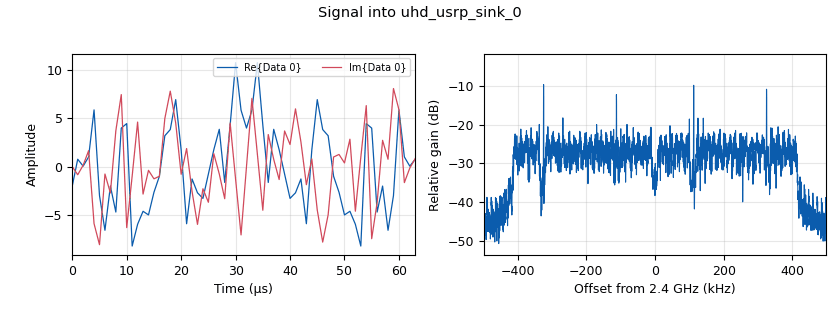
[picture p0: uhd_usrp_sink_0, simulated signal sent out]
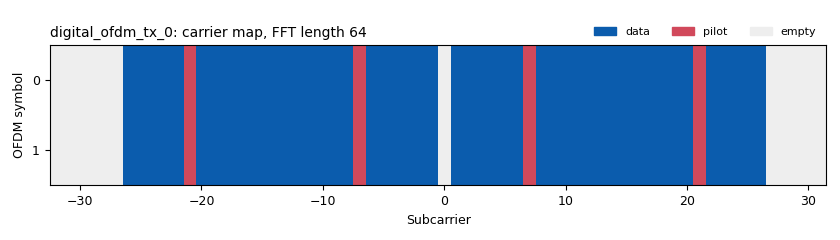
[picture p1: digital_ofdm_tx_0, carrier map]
<?xml version='1.0' encoding='utf-8'?>
<?grc format='1' created='3.7.10'?>
<flow_graph>
<block>
<key>options</key>
<param><key>id</key><value>top_block</value></param>
<param><key>generate_options</key><value>qt_gui</value></param>
</block>
<block>
<key>variable</key>
<param><key>id</key><value>fft_len</value></param>
<param><key>value</key><value>64</value></param>
</block>
<block>
<key>variable</key>
<param><key>id</key><value>header_equalizer</value></param>
<param><key>value</key><value>digital.ofdm_equalizer_simpledfe(fft_len, header_mod.base(), occupied_carriers, pilot_carriers, pilot_symbols)</value></param>
</block>
<block>
<key>variable</key>
<param><key>id</key><value>header_formatter</value></param>
<param><key>value</key><value>digital.packet_header_ofdm(occupied_carriers, n_syms=1, len_tag_key=packet_length_tag_key, frame_len_tag_key=length_tag_key, bits_per_header_sym=header_mod.bits_per_symbol(), bits_per_payload_sym=payload_mod.bits_per_symbol(), scramble_header=False)</value></param>
</block>
<block>
<key>variable</key>
<param><key>id</key><value>header_mod</value></param>
<param><key>value</key><value>digital.constellation_bpsk()</value></param>
</block>
<block>
<key>variable</key>
<param><key>id</key><value>length_tag_key</value></param>
<param><key>value</key><value>"frame_len"</value></param>
</block>
<block>
<key>variable</key>
<param><key>id</key><value>occupied_carriers</value></param>
<param><key>value</key><value>(range(-26, -21) + range(-20, -7) + range(-6, 0) + range(1, 7) + range(8, 21) + range(22, 27),)</value></param>
</block>
<block>
<key>variable</key>
<param><key>id</key><value>packet_len</value></param>
<param><key>value</key><value>96</value></param>
</block>
<block>
<key>variable</key>
<param><key>id</key><value>packet_length_tag_key</value></param>
<param><key>value</key><value>"packet_len"</value></param>
</block>
<block>
<key>variable</key>
<param><key>id</key><value>payload_equalizer</value></param>
<param><key>value</key><value>digital.ofdm_equalizer_simpledfe(fft_len, payload_mod.base(), occupied_carriers, pilot_carriers, pilot_symbols, 1)</value></param>
</block>
<block>
<key>variable</key>
<param><key>id</key><value>payload_mod</value></param>
<param><key>value</key><value>digital.constellation_qpsk()</value></param>
</block>
<block>
<key>variable</key>
<param><key>id</key><value>pilot_carriers</value></param>
<param><key>value</key><value>((-21, -7, 7, 21,),)</value></param>
</block>
<block>
<key>variable</key>
<param><key>id</key><value>pilot_symbols</value></param>
<param><key>value</key><value>((1, 1, 1, -1,),)</value></param>
</block>
<block>
<key>variable</key>
<param><key>id</key><value>samp_rate</value></param>
<param><key>value</key><value>1e6</value></param>
</block>
<block>
<key>variable</key>
<param><key>id</key><value>sync_word1</value></param>
<param><key>value</key><value>[0., 0., 0., 0., 0., 0., 0., 1.41421356, 0., -1.41421356, 0., 1.41421356, 0., -1.41421356, 0., -1.41421356, 0., -1.41421356, 0., 1.41421356, 0., -1.41421356, 0., 1.41421356, 0., -1.41421356, 0., -1.41421356, 0., -1.41421356, 0., -1.41421356, 0., 1.41421356, 0., -1.41421356, 0., 1.41421356, 0., 1.41421356, 0., 1.41421356, 0., -1.41421356, 0., 1.41421356, 0., 1.41421356, 0., 1.41421356, 0., -1.41421356, 0., 1.41421356, 0., 1.41421356, 0., 1.41421356, 0., 0., 0., 0., 0., 0.]</value></param>
</block>
<block>
<key>variable</key>
<param><key>id</key><value>sync_word2</value></param>
<param><key>value</key><value>[0j, 0j, 0j, 0j, 0j, 0j, (-1+0j), (-1+0j), (-1+0j), (-1+0j), (1+0j), (1+0j), (-1+0j), (-1+0j), (-1+0j), (1+0j), (-1+0j), (1+0j), (1+0j), (1 +0j), (1+0j), (1+0j), (-1+0j), (-1+0j), (-1+0j), (-1+0j), (-1+0j), (1+0j), (-1+0j), (-1+0j), (1+0j), (-1+0j), 0j, (1+0j), (-1+0j), (1+0j), (1+0j), (1+0j), (-1+0j), (1+0j), (1+0j), (1+0j), (-1+0j), (1+0j), (1+0j), (1+0j), (1+0j), (-1+0j), (1+0j), (-1+0j), (-1+0j), (-1+0j), (1+0j), (-1+0j), (1+0j), (-1+0j), (-1+0j), (-1+0j), (-1+0j), 0j, 0j, 0j, 0j, 0j]</value></param>
</block>
<block>
<key>analog_random_source_x</key>
<param><key>id</key><value>analog_random_source_x_0</value></param>
<param><key>max</key><value>255</value></param>
<param><key>min</key><value>0</value></param>
<param><key>num_samps</key><value>1000</value></param>
<param><key>type</key><value>byte</value></param>
<param><key>repeat</key><value>True</value></param>
</block>
<block>
<key>blocks_stream_to_tagged_stream</key>
<param><key>id</key><value>blocks_stream_to_tagged_stream_0</value></param>
<param><key>len_tag_key</key><value>packet_length_tag_key</value></param>
<param><key>packet_len</key><value>packet_len</value></param>
<param><key>type</key><value>byte</value></param>
</block>
<block>
<key>digital_ofdm_tx</key>
<param><key>id</key><value>digital_ofdm_tx_0</value></param>
<param><key>cp_len</key><value>fft_len/4</value></param>
<param><key>fft_len</key><value>fft_len</value></param>
<param><key>header_mod</key><value>"BPSK"</value></param>
<param><key>packet_len_key</key><value>packet_length_tag_key</value></param>
<param><key>log</key><value>True</value></param>
<param><key>occupied_carriers</key><value>occupied_carriers</value></param>
<param><key>payload_mod</key><value>"BPSK"</value></param>
<param><key>pilot_carriers</key><value>pilot_carriers</value></param>
<param><key>pilot_symbols</key><value>pilot_symbols</value></param>
<param><key>rolloff</key><value>0</value></param>
<param><key>sync_word1</key><value>sync_word1</value></param>
<param><key>sync_word2</key><value>sync_word2</value></param>
</block>
<block>
<key>import</key>
<param><key>id</key><value>import_1</value></param>
<param><key>import</key><value>from gnuradio.digital.utils import tagged_streams</value></param>
</block>
<block>
<key>uhd_usrp_sink</key>
<param><key>id</key><value>uhd_usrp_sink_0</value></param>
<param><key>ant0</key><value>TX/RX</value></param>
<param><key>center_freq0</key><value>2.4e9</value></param>
<param><key>norm_gain0</key><value>False</value></param>
<param><key>gain0</key><value>40</value></param>
<param><key>clock_rate</key><value>0.0</value></param>
<param><key>dev_args</key><value>""</value></param>
<param><key>type</key><value>fc32</value></param>
<param><key>sd_spec0</key><value>A:A</value></param>
<param><key>samp_rate</key><value>samp_rate</value></param>
<param><key>hide_cmd_port</key><value>False</value></param>
<param><key>hide_lo_controls</key><value>True</value></param>
<param><key>sync</key><value></value></param>
<param><key>len_tag_name</key><value></value></param>
</block>
<connection><source_block_id>analog_random_source_x_0</source_block_id><sink_block_id>blocks_stream_to_tagged_stream_0</sink_block_id><source_key>0</source_key><sink_key>0</sink_key></connection>
<connection><source_block_id>blocks_stream_to_tagged_stream_0</source_block_id><sink_block_id>digital_ofdm_tx_0</sink_block_id><source_key>0</source_key><sink_key>0</sink_key></connection>
<connection><source_block_id>digital_ofdm_tx_0</source_block_id><sink_block_id>uhd_usrp_sink_0</sink_block_id><source_key>0</source_key><sink_key>0</sink_key></connection>
</flow_graph>
